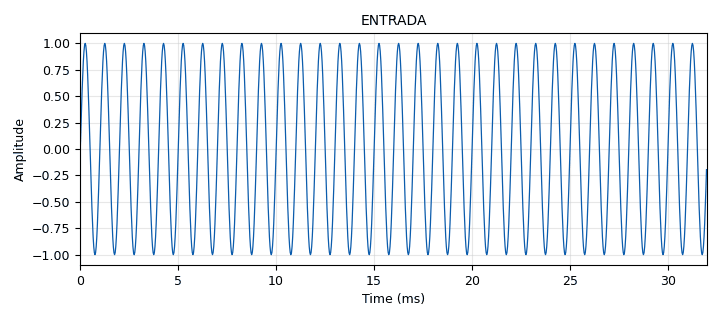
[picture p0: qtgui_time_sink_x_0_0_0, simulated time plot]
options:
  parameters:
    generate_options: qt_gui
    id: triceratops
    output_language: python
    title: Not titled yet
  states: {}

blocks:
- name: samp_rate
  id: variable
  parameters:
    value: '32000'
  states: {}
- name: analog_sig_source_x_0
  id: analog_sig_source_x
  parameters:
    amp: '2'
    freq: '1000'
    offset: '-1'
    phase: '0'
    samp_rate: samp_rate
    type: float
    waveform: analog.GR_TRI_WAVE
  states: {state: disabled}
- name: analog_sig_source_x_0_0
  id: analog_sig_source_x
  parameters:
    amp: '2'
    freq: '1000'
    offset: '-1'
    phase: '0'
    samp_rate: samp_rate
    type: float
    waveform: analog.GR_TRI_WAVE
  states: {state: disabled}
- name: analog_sig_source_x_0_0_0
  id: analog_sig_source_x
  parameters:
    amp: '1'
    freq: '1000'
    offset: '0'
    phase: '0'
    samp_rate: samp_rate
    type: float
    waveform: analog.GR_SIN_WAVE
  states: {}
- name: analog_sig_source_x_0_1
  id: analog_sig_source_x
  parameters:
    amp: '1'
    freq: '1000'
    offset: '0'
    phase: '0'
    samp_rate: samp_rate
    type: float
    waveform: analog.GR_SIN_WAVE
  states: {}
- name: blocks_throttle_0
  id: blocks_throttle
  parameters:
    samples_per_second: samp_rate
    type: float
  states: {state: disabled}
- name: blocks_throttle_0_0
  id: blocks_throttle
  parameters:
    samples_per_second: samp_rate
    type: float
  states: {}
- name: blocks_throttle_0_1
  id: blocks_throttle
  parameters:
    samples_per_second: samp_rate
    type: float
  states: {state: disabled}
- name: blocks_throttle_0_1_0
  id: blocks_throttle
  parameters:
    samples_per_second: samp_rate
    type: float
  states: {}
- name: epy_block_0
  id: epy_block
  parameters:
    _source_code: "\"\"\"\nEmbedded Python Blocks:\n\nEach time this file is saved, GRC will instantiate the first class it finds\nto get ports and parameters of your block. The arguments to __init__  will\nbe the parameters. All of them are required to have default values!\n\"\"\"\n\nimport numpy as np\nfrom gnuradio import gr\n\nclass Acumulador(gr.sync_block):\n    def __init__(self):\n        gr.sync_block.__init__(\n            self,\n            name='Acumulador',  # Nombre que aparecerá en GRC\n            in_sig=[np.float32],\n            out_sig=[np.float32]\n        )\n        self.acumulado = 0  # Estado del acumulador inicializado a 0\n\n    def work(self, input_items, output_items):\n        x = input_items[0]  # Señal de entrada\n        y0 = output_items[0]  # Señal acumulada\n\n        # Calcula la suma acumulada para la entrada actual\n        y0[:] = np.cumsum(x) + self.acumulado\n\n        # Actualiza el acumulado con el último valor de la entrada\n        self.acumulado = y0[-1]\n\n        return len(y0)\n\n"
  states: {state: disabled}
- name: epy_block_1
  id: epy_block
  parameters:
    _source_code: "\"\"\"\nEmbedded Python Blocks:\n\nEach time this file is saved, GRC will instantiate the first class it finds\nto get ports and parameters of your block. The arguments to __init__  will\nbe the parameters. All of them are required to have default values!\n\"\"\"\n\nimport numpy as np\nfrom gnuradio import gr\n\nclass Diferenciador(gr.sync_block):\n    def __init__(self):\n        gr.sync_block.__init__(\n            self,\n            name='Diferenciador',  # Nombre que aparecerá en GRC\n            in_sig=[np.float32],\n            out_sig=[np.float32]\n        )\n        self.acum_anterior = 0\n\n    def work(self, input_items, output_items):\n        x = input_items[0]  # Señal de entrada\n        y0 = output_items[0]  # Señal de salida (derivada)\n        N = len(x)\n        \n        # Calcular la derivada\n        y0[0] = x[0] - self.acum_anterior\n        for i in range(1, N):\n            y0[i] = x[i] - x[i - 1]\n\n        # Actualizar el valor acumulado\n        self.acum_anterior = x[N - 1]\n\n        return len(y0)\n\n"
  states: {state: disabled}
- name: epy_block_2
  id: epy_block
  parameters:
    _source_code: "import numpy as np\nfrom gnuradio import gr\n\nclass blk(gr.sync_block):\n    def __init__(self):\n        # Solo argumentos predeterminados aquí\n        gr.sync_block.__init__(\n            self,\n            name='Promedios_de_tiempos',  # Aparecerá en GRC\n            in_sig=[np.float32],\n            out_sig=[np.float32, np.float32, np.float32, np.float32, np.float32]\n        )\n        self.acum_anterior = 0\n        self.Ntotales = 0\n        self.acum_anterior1 = 0\n        self.acum_anterior2 = 0\n\n    def work(self, input_items, output_items):\n        x = input_items[0]  # Señal de entrada\n        y0 = output_items[0]  # Promedio de la señal\n        y1 = output_items[1]  # Media de la señal\n        y2 = output_items[2]  # RMS de la señal\n        y3 = output_items[3]  # Potencia promedio de la señal\n        y4 = output_items[4]  # Desviación estándar de la señal\n\n        # Cálculo del promedio\n        N = len(x)\n        self.Ntotales = self.Ntotales + N\n        acumulado = self.acum_anterior + np.cumsum(x)\n        self.acum_anterior = acumulado[N - 1]\n        y0[:] = acumulado / self.Ntotales\n\n        # Cálculo de la media cuadrática\n        x2 = np.multiply(x, x)\n        acumulado1 = self.acum_anterior1 + np.cumsum(x2)\n        self.acum_anterior1 = acumulado1[N - 1]\n        y1[:] = acumulado1 / self.Ntotales\n\n        # Cálculo de la RMS\n        y2[:] = np.sqrt(y1)\n\n        # Cálculo de la potencia promedio\n        y3[:] = np.multiply(y2, y2)\n\n        # Cálculo de la desviación estándar\n        x3 = np.multiply(x - y0, x - y0)\n        acumulado2 = self.acum_anterior2 + np.cumsum(x3)\n        self.acum_anterior2 = acumulado2[N - 1]\n        y4[:] = np.sqrt(acumulado2 / self.Ntotales)\n\n        return len(x)\n\n"
  states: {}
- name: qtgui_number_sink_0
  id: qtgui_number_sink
  parameters:
    autoscale: 'True'
    graph_type: qtgui.NUM_GRAPH_HORIZ
    name: VALOR PROMEDIO
    type: float
  states: {}
- name: qtgui_number_sink_0_0
  id: qtgui_number_sink
  parameters:
    autoscale: 'True'
    graph_type: qtgui.NUM_GRAPH_HORIZ
    name: MEDIA CUADRATICA
    type: float
  states: {}
- name: qtgui_number_sink_0_1
  id: qtgui_number_sink
  parameters:
    autoscale: 'True'
    graph_type: qtgui.NUM_GRAPH_HORIZ
    name: RMS
    type: float
  states: {}
- name: qtgui_number_sink_0_2
  id: qtgui_number_sink
  parameters:
    autoscale: 'True'
    graph_type: qtgui.NUM_GRAPH_HORIZ
    name: POTENCIA PROMEDIO
    type: float
  states: {}
- name: qtgui_number_sink_0_3
  id: qtgui_number_sink
  parameters:
    autoscale: 'True'
    graph_type: qtgui.NUM_GRAPH_HORIZ
    name: DESVIACION ESTANDAR
    type: float
  states: {}
- name: qtgui_time_sink_x_0
  id: qtgui_time_sink_x
  parameters:
    autoscale: 'True'
    name: INTEGRAL
    size: '1024'
    srate: samp_rate
    type: float
  states: {state: disabled}
- name: qtgui_time_sink_x_0_0
  id: qtgui_time_sink_x
  parameters:
    autoscale: 'True'
    name: DERIVADA
    size: '1024'
    srate: samp_rate
    type: float
  states: {state: disabled}
- name: qtgui_time_sink_x_0_0_0
  id: qtgui_time_sink_x
  parameters:
    autoscale: 'True'
    name: ENTRADA
    size: '1024'
    srate: samp_rate
    type: float
  states: {}

connections:
- [analog_sig_source_x_0, '0', blocks_throttle_0, '0']
- [analog_sig_source_x_0_0, '0', blocks_throttle_0_1, '0']
- [analog_sig_source_x_0_0_0, '0', blocks_throttle_0_1_0, '0']
- [analog_sig_source_x_0_1, '0', blocks_throttle_0_0, '0']
- [blocks_throttle_0, '0', epy_block_0, '0']
- [blocks_throttle_0_0, '0', epy_block_2, '0']
- [blocks_throttle_0_1, '0', epy_block_1, '0']
- [blocks_throttle_0_1_0, '0', qtgui_time_sink_x_0_0_0, '0']
- [epy_block_0, '0', qtgui_time_sink_x_0, '0']
- [epy_block_1, '0', qtgui_time_sink_x_0_0, '0']
- [epy_block_2, '0', qtgui_number_sink_0, '0']
- [epy_block_2, '1', qtgui_number_sink_0_0, '0']
- [epy_block_2, '2', qtgui_number_sink_0_1, '0']
- [epy_block_2, '3', qtgui_number_sink_0_2, '0']
- [epy_block_2, '4', qtgui_number_sink_0_3, '0']

metadata:
  file_format: 1
  grc_version: 3.10.7.0
